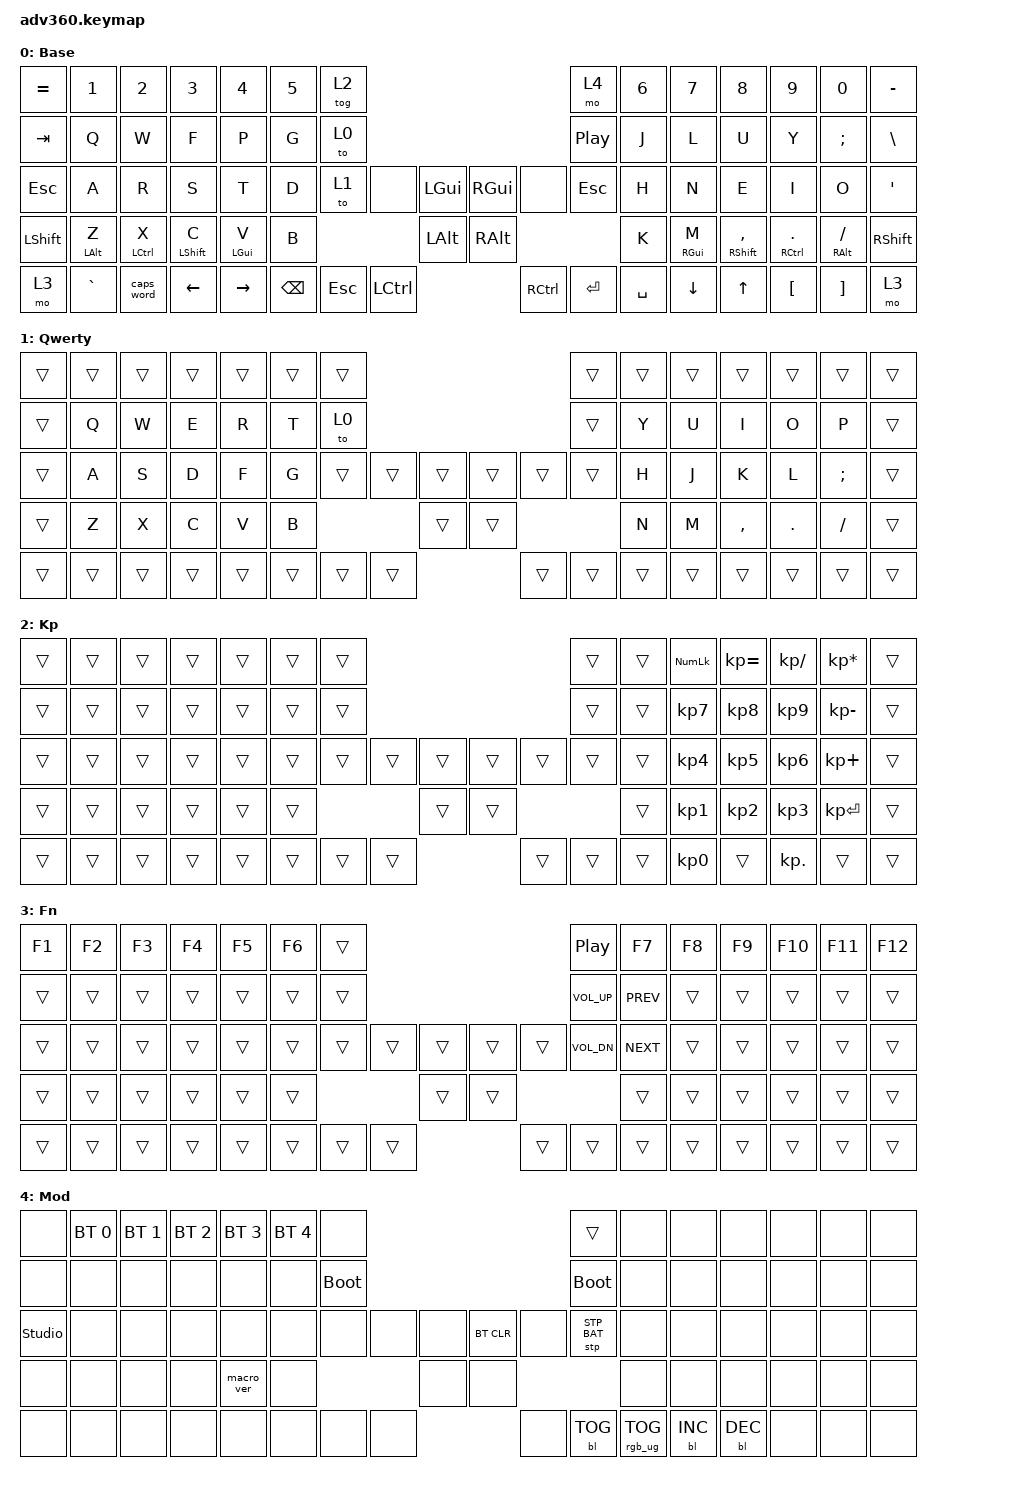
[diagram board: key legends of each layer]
#include <behaviors.dtsi>
#include <dt-bindings/zmk/keys.h>
#include <dt-bindings/zmk/bt.h>
#include <dt-bindings/zmk/rgb.h>
#include <dt-bindings/zmk/stp.h>
#include <dt-bindings/zmk/backlight.h>
#include <dt-bindings/zmk/pointing.h>

&lt { quick-tap-ms = <225>; };

/ {
    behaviors {
      #include "macros.dtsi"
      #include "version.dtsi"

      hm: homerow_mods {
          compatible = "zmk,behavior-hold-tap";
          label = "HOMEROW_MODS";
          #binding-cells = <2>;
          tapping-term-ms = <200>;
          quick_tap_ms = <175>;
          flavor = "tap-preferred";
          // TODO try this out too: flavor = "balanced";
          // similar to QMK's PERMISSIVE HOLD
          // https://zmk.dev/docs/keymaps/behaviors/hold-tap#interrupt-flavors
          require-prior-idle-ms = <25>;
          bindings = <&kp>, <&kp>;
      };

      /*
      * Default from Kinesis:
      *
      * hm: homerow_mods {
      *     compatible = "zmk,behavior-hold-tap";
      *     label = "HOMEROW_MODS";
      *     #binding-cells = <2>;
      *     tapping-term-ms = <200>;
      *     quick_tap_ms = <175>;
      *     flavor = "tap-preferred";
      *     bindings = <&kp>, <&kp>;
      * };
      */
    };

/*
* Default Colemak layer:
*
* ,--------+------+------+------+------+------+---------------------------+------+------+------+------+------+--------.
* | =+     |  1!  |  2@  |  3#  |  4$  |  5%  |Keypad|             | Mod  |  6^  |  7&  |  8*  |  9(  |  0)  | -_     |
* |--------+------+------+------+------+------|------|             |------+------+------+------+------+------+--------|
* | Tab    |   Q  |   W  |   F  |   P  |   G  | Base |             |      |   J  |   L  |   U  |   Y  |  ;:  | \|     |
* |--------+------+------+------+------+------|------|             |------|------+------+------+------+------+--------|
* | Esc    |   A  |   R  |   S  |   T  |   D  |Qwerty|             | Esc  |   H  |   N  |   E  |   I  |   O  | '"     |
* |--------+------+------+------+------+------|------'             `------|------+------+------+------+------+--------|
* | Shift  |ALT(Z)|CTL(X)|SFT(C)|GUI(V)|   B  |                           |   K  |GUI(M)|SFT(,)|CTL(.)|ALT(/)| Shift  |
* `--------+------+------+------+------+-------                           `------+------+------+------+------+--------'
* | Func   | `~   |CapsWd| Left | Right|                                         | Down |  Up  |  [{  |  ]}  | Func   |
* `--------`---------------------------'                                         `---------------------------'--------'
*                                        ,-------------.         ,-------------.
*                                        |      | Gui  |         | Gui  |      |
*                                 ,------|------|------|         |------+------+------.
*                                 |      |      | Alt  |         | Alt  |      |      |
*                                 | Bksp |Enter |------|         |------| Enter| Space|
*                                 |      |      | Ctrl |         | Ctrl |      |      |
*                                 `--------------------'         `--------------------'
*/


  keymap {
    compatible = "zmk,keymap";

    default_layer {
      display-name = "Base";
      bindings = <
        &kp EQUAL &kp N1     &kp N2      &kp N3      &kp N4     &kp N5 &tog 2                                                             &mo 4        &kp N6   &kp N7     &kp N8          &kp N9        &kp N0         &kp MINUS
        &kp TAB   &kp Q      &kp W       &kp F       &kp P      &kp G  &to 0                                                              &kp C_PP     &kp J    &kp L      &kp U           &kp Y         &kp SEMI       &kp BSLH
        &kp ESC   &kp A      &kp R       &kp S       &kp T      &kp D  &to 1            &none    &kp LGUI  &kp RGUI  &none                &kp ESC      &kp H    &kp N      &kp E           &kp I         &kp O          &kp SQT
        &kp LSHFT &hm LALT Z &hm LCTRL X &hm LSHFT C &hm LGUI V &kp B                            &kp LALT  &kp RALT                                    &kp K    &hm RGUI M &hm RSHFT COMMA &hm RCTRL DOT &hm RALT SLASH &kp RSHFT
        &mo 3     &kp GRAVE  &caps_word  &kp LEFT    &kp RIGHT               &kp BSPC  &kp ESC   &kp LCTRL &kp RCTRL &kp ENTER &kp SPACE                        &kp DOWN   &kp UP          &kp LBKT      &kp RBKT       &mo 3
      >;
    };

    qwerty {
      display-name = "Qwerty";
      bindings = <
        &trans  &trans  &trans  &trans  &trans  &trans  &trans                                               &trans  &trans  &trans  &trans     &trans   &trans     &trans
        &trans  &kp Q   &kp W   &kp E   &kp R   &kp T   &to 0                                                &trans  &kp Y   &kp U   &kp I      &kp O    &kp P      &trans
        &trans  &kp A   &kp S   &kp D   &kp F   &kp G   &trans      &trans &trans  &trans &trans             &trans  &kp H   &kp J   &kp K      &kp L    &kp SEMI   &trans
        &trans  &kp Z   &kp X   &kp C   &kp V   &kp B                      &trans  &trans                            &kp N   &kp M   &kp COMMA  &kp DOT  &kp SLASH  &trans
        &trans  &trans  &trans  &trans  &trans               &trans &trans &trans  &trans &trans &trans                      &trans  &trans     &trans   &trans     &trans
      >;
    };

    keypad {
      display-name = "Kp";
      bindings = <
        &trans   &trans     &trans    &trans    &trans      &trans  &trans                                                 &trans &trans  &kp KP_NUM &kp KP_EQUAL &kp KP_DIVIDE &kp KP_MULTIPLY &trans
        &trans   &trans     &trans    &trans    &trans      &trans  &trans                                                 &trans &trans  &kp KP_N7  &kp KP_N8    &kp KP_N9     &kp KP_MINUS    &trans
        &trans   &trans     &trans    &trans    &trans      &trans  &trans           &trans &trans  &trans &trans          &trans &trans  &kp KP_N4  &kp KP_N5    &kp KP_N6     &kp KP_PLUS     &trans
        &trans   &trans     &trans    &trans    &trans      &trans                         &trans  &trans                         &trans  &kp KP_N1  &kp KP_N2    &kp KP_N3     &kp KP_ENTER    &trans
        &trans   &trans     &trans    &trans    &trans                       &trans &trans &trans  &trans &trans &trans                   &kp KP_N0  &trans       &kp KP_DOT    &trans          &trans
      >;
    };

    fn {
      display-name = "Fn";
      bindings = <
        &kp F1 &kp F2 &kp F3 &kp F4 &kp F5 &kp F6  &trans                                           &kp C_PP     &kp F7      &kp F8 &kp F9 &kp F10 &kp F11 &kp F12
        &trans &trans &trans &trans &trans &trans  &trans                                           &kp C_VOL_UP &kp C_PREV &trans &trans &trans  &trans  &trans
        &trans &trans &trans &trans &trans &trans  &trans        &trans &trans &trans &trans        &kp C_VOL_DN &kp C_NEXT &trans &trans &trans  &trans  &trans
        &trans &trans &trans &trans &trans &trans                      &trans &trans                             &trans      &trans &trans &trans  &trans  &trans
        &trans &trans &trans &trans &trans               &trans &trans &trans &trans &trans &trans                           &trans &trans &trans  &trans  &trans
      >;
    };

    mod {
      display-name = "Mod";
      bindings = <
        &none &bt BT_SEL 0 &bt BT_SEL 1 &bt BT_SEL 2 &bt BT_SEL 3 &bt BT_SEL 4 &none                                                                     &trans                 &none        &none        &none        &none &none &none
        &none &none        &none        &none        &none        &none        &bootloader                                                               &bootloader            &none        &none        &none        &none &none &none
        &studio_unlock &none        &none        &none        &none        &none        &none                   &none &none &bt BT_CLR &none                      &stp STP_BAT &none        &none        &none        &none &none &none
        &none &none        &none        &none        &macro_ver   &none                                      &none &none                                                        &none        &none        &none        &none &none &none
        &none &none        &none        &none        &none                                       &none &none &none &none      &bl BL_TOG &rgb_ug RGB_TOG                                     &bl BL_INC   &bl BL_DEC   &none &none &none
      >;
    };

    // extra1 {
    //   display-name = "Red";
    //   status = "reserved";
    // };

    // extra2 {
    //   display-name = "Purple";
    //   status = "reserved";
    // };

    // extra3 {
    //   display-name = "Cyan";
    //   status = "reserved";
    // };

    // extra4 {
    //   display-name = "Yellow";
    //   status = "reserved";
    // };
  };
};
